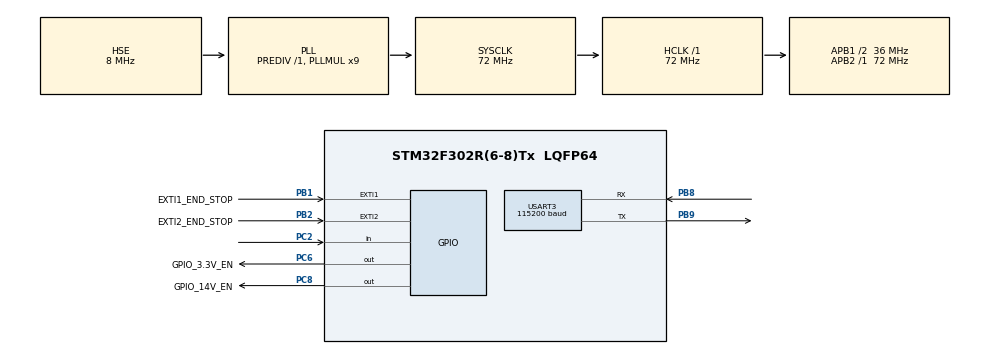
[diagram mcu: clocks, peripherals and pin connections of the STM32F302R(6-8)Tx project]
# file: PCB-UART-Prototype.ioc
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Mcu.Family=STM32F3
Mcu.Name=STM32F302R(6-8)Tx
Mcu.Package=LQFP64
NVIC.EXTI1_IRQn=true\:0\:0\:false\:false\:true\:true\:true
NVIC.EXTI2_TSC_IRQn=true\:0\:0\:false\:false\:true\:true\:true
NVIC.PriorityGroup=NVIC_PRIORITYGROUP_4
NVIC.RTC_Alarm_IRQn=true\:0\:0\:false\:false\:true\:true\:true
NVIC.RTC_WKUP_IRQn=true\:0\:0\:false\:false\:true\:true\:true
NVIC.TIM1_BRK_TIM15_IRQn=true\:0\:0\:false\:false\:true\:true\:true
NVIC.TIM1_UP_TIM16_IRQn=true\:0\:0\:false\:false\:true\:true\:true
NVIC.USART3_IRQn=true\:0\:0\:false\:false\:true\:true\:true
PA13.Mode=Serial_Wire
PA13.Signal=SYS_JTMS-SWDIO
PA14.Mode=Serial_Wire
PA14.Signal=SYS_JTCK-SWCLK
PB1.GPIO_Label=EXTI1_END_STOP
PB1.GPIO_ModeDefaultEXTI=GPIO_MODE_IT_FALLING
PB1.GPIO_PuPd=GPIO_PULLUP
PB1.Signal=GPXTI1
PB2.GPIO_Label=EXTI2_END_STOP
PB2.GPIO_ModeDefaultEXTI=GPIO_MODE_IT_FALLING
PB2.GPIO_PuPd=GPIO_PULLUP
PB2.Signal=GPXTI2
PB8.Mode=Asynchronous
PB8.Signal=USART3_RX
PB9.Mode=Asynchronous
PB9.Signal=USART3_TX
PC2.GPIO_PuPd=GPIO_PULLDOWN
PC2.Signal=GPIO_Input
PC6.GPIO_Label=GPIO_3.3V_EN
PC6.GPIO_PuPd=GPIO_PULLDOWN
PC6.PinState=GPIO_PIN_SET
PC6.Signal=GPIO_Output
PC8.GPIO_Label=GPIO_14V_EN
PC8.GPIO_PuPd=GPIO_PULLDOWN
PC8.PinState=GPIO_PIN_RESET
PC8.Signal=GPIO_Output
PF0-OSC_IN.Mode=HSE-External-Oscillator
PF0-OSC_IN.Signal=RCC_OSC_IN
PF1-OSC_OUT.Mode=HSE-External-Oscillator
PF1-OSC_OUT.Signal=RCC_OSC_OUT
ProjectManager.HeapSize=0x200
ProjectManager.StackSize=0x400
ProjectManager.TargetToolchain=MDK-ARM V5.27
RCC.AHBFreq_Value=72000000
RCC.APB1CLKDivider=RCC_HCLK_DIV2
RCC.APB1Freq_Value=36000000
RCC.APB1TimFreq_Value=72000000
RCC.APB2Freq_Value=72000000
RCC.APB2TimFreq_Value=72000000
RCC.CortexFreq_Value=72000000
RCC.HCLKFreq_Value=72000000
RCC.HSE_VALUE=8000000
RCC.HSI_VALUE=8000000
RCC.LSE_VALUE=32768
RCC.PLLMUL=RCC_PLL_MUL9
RCC.PLLSourceVirtual=RCC_PLLSOURCE_HSE
RCC.RTCClockSelection=RCC_RTCCLKSOURCE_HSE_DIV32
RCC.SYSCLKFreq_VALUE=72000000
RCC.SYSCLKSourceVirtual=RCC_SYSCLKSOURCE_PLLCLK
RCC.USBFreq_Value=72000000
RTC.Alarm-Alarm\ A=RTC_ALARM_A
TIM15.Period=99
TIM15.Prescaler=71
TIM16.Period=99
TIM16.Prescaler=71
USART3.BaudRate=115200
USART3.VirtualMode-Asynchronous=VM_ASYNC
VP_RTC_VS_RTC_Activate.Mode=RTC_Enabled
VP_RTC_VS_RTC_Alarm_A_Intern.Mode=Alarm A
VP_RTC_VS_RTC_Calendar.Mode=RTC_Calendar
VP_RTC_VS_RTC_WakeUp_intern.Mode=WakeUp
VP_TIM15_VS_ClockSourceINT.Mode=Internal
VP_TIM16_VS_ClockSourceINT.Mode=Enable_Timer
board=custom

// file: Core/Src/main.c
/* USER CODE BEGIN Header */
/**
  ******************************************************************************
  * @file           : main.c
  * @brief          : Main program body
  ******************************************************************************
  * @attention
  *
  * <h2><center>&copy; Copyright (c) 2020 STMicroelectronics.
  * All rights reserved.</center></h2>
  *
  * This software component is licensed by ST under BSD 3-Clause license,
  * the "License"; You may not use this file except in compliance with the
  * License. You may obtain a copy of the License at:
  *                        opensource.org/licenses/BSD-3-Clause
  *
  ******************************************************************************
  */
/* USER CODE END Header */
#include "main.h"

/* USER CODE BEGIN Includes */
#include "math.h"
//#include "freqAnalysis.h"
#include "seqAnalysis.h"
#include "string.h"
#include "stdio.h"
/* USER CODE END Includes */

RTC_HandleTypeDef hrtc;

TIM_HandleTypeDef htim15;
TIM_HandleTypeDef htim16;

UART_HandleTypeDef huart3;

/* USER CODE BEGIN PV */
volatile uint16_t status = 1;
volatile uint16_t resetLength;
volatile uint16_t setLength;
char buffer[30];
volatile uint16_t element_num = 0;
volatile uint16_t data = 0;
volatile uint16_t counter = 0;
static uint16_t depth = 80;
static uint16_t sample_rate = 10000;
volatile uint32_t raw_data[80] = {0}; //Increase array size if neccessary

freqAnalyser analiser;

/* USER CODE END PV */

void SystemClock_Config(void);
static void MX_GPIO_Init(void);
static void MX_USART3_UART_Init(void);
static void MX_RTC_Init(void);
static void MX_TIM15_Init(void);
static void MX_TIM16_Init(void);
/* USER CODE BEGIN PFP */

void CheckData (void){
	uint32_t  time_sufficient = 0;
	/*calculate sum non-zero value elements*/
	for(int k =0; k< (depth-1);k++){
		if (raw_data[k] !=0  ){
			if(raw_data[k] > 0x20000){
				time_sufficient = time_sufficient + (raw_data[k] - 0x20000);
				//HAL_UART_Transmit(&huart3,(uint8_t*)buffer, sprintf(buffer, "setLength = %d\n", (raw_data[k] - 0x20000)), 200);
			}else{
				time_sufficient = time_sufficient + raw_data[k];
				//HAL_UART_Transmit(&huart3,(uint8_t*)buffer, sprintf(buffer, "resetLength = %d\n", raw_data[k]), 200);
			}
		}
	}
	/* ***** */

	int time_sec = time_sufficient / sample_rate;
	if (time_sec > 2){																//Is record time enough for reconstruction
		__NOP();																				//Insert your filtration here
	}
}

void ClearBuffer (void){
	element_num = 0;
	CheckData();
	for (int i = 0; i < (depth - 1); i++){
		raw_data[i] = 0;
	}
	setLength = 0;
	HAL_UART_Transmit_IT(&huart3,(uint8_t*)buffer, sprintf(buffer, "IDLE\n"));
}

/* USER CODE END PFP */

int main(void)
{
  /* USER CODE BEGIN 1 */
  analiser = initAnaliser(1.);
  /* USER CODE END 1 */

  /* MCU Configuration--------------------------------------------------------*/

  /* Reset of all peripherals, Initializes the Flash interface and the Systick. */
  HAL_Init();

  /* Configure the system clock */
  SystemClock_Config();

  /* Initialize all configured peripherals */
  MX_GPIO_Init();
  MX_USART3_UART_Init();
  MX_RTC_Init();
  MX_TIM15_Init();
  MX_TIM16_Init();
  /* USER CODE BEGIN 2 */
	HAL_NVIC_EnableIRQ(EXTI1_IRQn);
	HAL_NVIC_EnableIRQ(EXTI2_TSC_IRQn);
	HAL_TIM_Base_Start_IT(&htim15);
	HAL_TIM_Base_Start_IT(&htim16);
  /* USER CODE END 2 */

  /* Infinite loop */
  while (1)
  {

  }
}

void SystemClock_Config(void)
{
  RCC_OscInitTypeDef RCC_OscInitStruct = {0};
  RCC_ClkInitTypeDef RCC_ClkInitStruct = {0};
  RCC_PeriphCLKInitTypeDef PeriphClkInit = {0};

  /** Initializes the RCC Oscillators according to the specified parameters
  * in the RCC_OscInitTypeDef structure.
  */
  RCC_OscInitStruct.OscillatorType = RCC_OSCILLATORTYPE_HSE;
  RCC_OscInitStruct.HSEState = RCC_HSE_ON;
  RCC_OscInitStruct.HSEPredivValue = RCC_HSE_PREDIV_DIV1;
  RCC_OscInitStruct.HSIState = RCC_HSI_ON;
  RCC_OscInitStruct.PLL.PLLState = RCC_PLL_ON;
  RCC_OscInitStruct.PLL.PLLSource = RCC_PLLSOURCE_HSE;
  RCC_OscInitStruct.PLL.PLLMUL = RCC_PLL_MUL9;
  if (HAL_RCC_OscConfig(&RCC_OscInitStruct) != HAL_OK)
  {
    Error_Handler();
  }
  /** Initializes the CPU, AHB and APB buses clocks
  */
  RCC_ClkInitStruct.ClockType = RCC_CLOCKTYPE_HCLK|RCC_CLOCKTYPE_SYSCLK
                              |RCC_CLOCKTYPE_PCLK1|RCC_CLOCKTYPE_PCLK2;
  RCC_ClkInitStruct.SYSCLKSource = RCC_SYSCLKSOURCE_PLLCLK;
  RCC_ClkInitStruct.AHBCLKDivider = RCC_SYSCLK_DIV1;
  RCC_ClkInitStruct.APB1CLKDivider = RCC_HCLK_DIV2;
  RCC_ClkInitStruct.APB2CLKDivider = RCC_HCLK_DIV1;

  if (HAL_RCC_ClockConfig(&RCC_ClkInitStruct, FLASH_LATENCY_2) != HAL_OK)
  {
    Error_Handler();
  }
  PeriphClkInit.PeriphClockSelection = RCC_PERIPHCLK_RTC|RCC_PERIPHCLK_TIM15
                              |RCC_PERIPHCLK_TIM16;
  PeriphClkInit.RTCClockSelection = RCC_RTCCLKSOURCE_HSE_DIV32;
  PeriphClkInit.Tim15ClockSelection = RCC_TIM15CLK_HCLK;
  PeriphClkInit.Tim16ClockSelection = RCC_TIM16CLK_HCLK;
  if (HAL_RCCEx_PeriphCLKConfig(&PeriphClkInit) != HAL_OK)
  {
    Error_Handler();
  }
}

static void MX_RTC_Init(void)
{

  RTC_TimeTypeDef sTime = {0};
  RTC_DateTypeDef sDate = {0};
  RTC_AlarmTypeDef sAlarm = {0};

  /** Initialize RTC Only
  */
  hrtc.Instance = RTC;
  hrtc.Init.HourFormat = RTC_HOURFORMAT_24;
  hrtc.Init.AsynchPrediv = 127;
  hrtc.Init.SynchPrediv = 255;
  hrtc.Init.OutPut = RTC_OUTPUT_DISABLE;
  hrtc.Init.OutPutPolarity = RTC_OUTPUT_POLARITY_HIGH;
  hrtc.Init.OutPutType = RTC_OUTPUT_TYPE_OPENDRAIN;
  if (HAL_RTC_Init(&hrtc) != HAL_OK)
  {
    Error_Handler();
  }

  /** Initialize RTC and set the Time and Date
  */
  sTime.Hours = 0x0;
  sTime.Minutes = 0x0;
  sTime.Seconds = 0x0;
  sTime.DayLightSaving = RTC_DAYLIGHTSAVING_NONE;
  sTime.StoreOperation = RTC_STOREOPERATION_RESET;
  if (HAL_RTC_SetTime(&hrtc, &sTime, RTC_FORMAT_BCD) != HAL_OK)
  {
    Error_Handler();
  }
  sDate.WeekDay = RTC_WEEKDAY_MONDAY;
  sDate.Month = RTC_MONTH_JANUARY;
  sDate.Date = 0x1;
  sDate.Year = 0x0;

  if (HAL_RTC_SetDate(&hrtc, &sDate, RTC_FORMAT_BCD) != HAL_OK)
  {
    Error_Handler();
  }
  /** Enable the Alarm A
  */
  sAlarm.AlarmTime.Hours = 0x0;
  sAlarm.AlarmTime.Minutes = 0x0;
  sAlarm.AlarmTime.Seconds = 0x0;
  sAlarm.AlarmTime.SubSeconds = 0x0;
  sAlarm.AlarmTime.DayLightSaving = RTC_DAYLIGHTSAVING_NONE;
  sAlarm.AlarmTime.StoreOperation = RTC_STOREOPERATION_RESET;
  sAlarm.AlarmMask = RTC_ALARMMASK_NONE;
  sAlarm.AlarmSubSecondMask = RTC_ALARMSUBSECONDMASK_ALL;
  sAlarm.AlarmDateWeekDaySel = RTC_ALARMDATEWEEKDAYSEL_DATE;
  sAlarm.AlarmDateWeekDay = 0x1;
  sAlarm.Alarm = RTC_ALARM_A;
  if (HAL_RTC_SetAlarm_IT(&hrtc, &sAlarm, RTC_FORMAT_BCD) != HAL_OK)
  {
    Error_Handler();
  }
  /** Enable the WakeUp
  */
  if (HAL_RTCEx_SetWakeUpTimer_IT(&hrtc, 0, RTC_WAKEUPCLOCK_RTCCLK_DIV16) != HAL_OK)
  {
    Error_Handler();
  }

}

static void MX_TIM15_Init(void)
{

  TIM_ClockConfigTypeDef sClockSourceConfig = {0};
  TIM_MasterConfigTypeDef sMasterConfig = {0};

  htim15.Instance = TIM15;
  htim15.Init.Prescaler = 71;
  htim15.Init.CounterMode = TIM_COUNTERMODE_UP;
  htim15.Init.Period = 99;
  htim15.Init.ClockDivision = TIM_CLOCKDIVISION_DIV1;
  htim15.Init.RepetitionCounter = 0;
  htim15.Init.AutoReloadPreload = TIM_AUTORELOAD_PRELOAD_DISABLE;
  if (HAL_TIM_Base_Init(&htim15) != HAL_OK)
  {
    Error_Handler();
  }
  sClockSourceConfig.ClockSource = TIM_CLOCKSOURCE_INTERNAL;
  if (HAL_TIM_ConfigClockSource(&htim15, &sClockSourceConfig) != HAL_OK)
  {
    Error_Handler();
  }
  sMasterConfig.MasterOutputTrigger = TIM_TRGO_RESET;
  sMasterConfig.MasterSlaveMode = TIM_MASTERSLAVEMODE_DISABLE;
  if (HAL_TIMEx_MasterConfigSynchronization(&htim15, &sMasterConfig) != HAL_OK)
  {
    Error_Handler();
  }

}

static void MX_TIM16_Init(void)
{

  htim16.Instance = TIM16;
  htim16.Init.Prescaler = 71;
  htim16.Init.CounterMode = TIM_COUNTERMODE_UP;
  htim16.Init.Period = 99;
  htim16.Init.ClockDivision = TIM_CLOCKDIVISION_DIV1;
  htim16.Init.RepetitionCounter = 0;
  htim16.Init.AutoReloadPreload = TIM_AUTORELOAD_PRELOAD_DISABLE;
  if (HAL_TIM_Base_Init(&htim16) != HAL_OK)
  {
    Error_Handler();
  }

}

static void MX_USART3_UART_Init(void)
{

  huart3.Instance = USART3;
  huart3.Init.BaudRate = 115200;
  huart3.Init.WordLength = UART_WORDLENGTH_8B;
  huart3.Init.StopBits = UART_STOPBITS_1;
  huart3.Init.Parity = UART_PARITY_NONE;
  huart3.Init.Mode = UART_MODE_TX_RX;
  huart3.Init.HwFlowCtl = UART_HWCONTROL_NONE;
  huart3.Init.OverSampling = UART_OVERSAMPLING_16;
  huart3.Init.OneBitSampling = UART_ONE_BIT_SAMPLE_DISABLE;
  huart3.AdvancedInit.AdvFeatureInit = UART_ADVFEATURE_NO_INIT;
  if (HAL_UART_Init(&huart3) != HAL_OK)
  {
    Error_Handler();
  }

}

static void MX_GPIO_Init(void)
{
  GPIO_InitTypeDef GPIO_InitStruct = {0};

  /* GPIO Ports Clock Enable */
  __HAL_RCC_GPIOF_CLK_ENABLE();
  __HAL_RCC_GPIOC_CLK_ENABLE();
  __HAL_RCC_GPIOB_CLK_ENABLE();
  __HAL_RCC_GPIOA_CLK_ENABLE();

  /*Configure GPIO pin Output Level */
  HAL_GPIO_WritePin(GPIO_3_3V_EN_GPIO_Port, GPIO_3_3V_EN_Pin, GPIO_PIN_SET);

  /*Configure GPIO pin Output Level */
  HAL_GPIO_WritePin(GPIO_14V_EN_GPIO_Port, GPIO_14V_EN_Pin, GPIO_PIN_RESET);

  /*Configure GPIO pin : PC2 */
  GPIO_InitStruct.Pin = GPIO_PIN_2;
  GPIO_InitStruct.Mode = GPIO_MODE_INPUT;
  GPIO_InitStruct.Pull = GPIO_PULLDOWN;
  HAL_GPIO_Init(GPIOC, &GPIO_InitStruct);

  /*Configure GPIO pins : EXTI1_END_STOP_Pin EXTI2_END_STOP_Pin */
  GPIO_InitStruct.Pin = EXTI1_END_STOP_Pin|EXTI2_END_STOP_Pin;
  GPIO_InitStruct.Mode = GPIO_MODE_IT_FALLING;
  GPIO_InitStruct.Pull = GPIO_PULLUP;
  HAL_GPIO_Init(GPIOB, &GPIO_InitStruct);

  /*Configure GPIO pins : GPIO_3_3V_EN_Pin GPIO_14V_EN_Pin */
  GPIO_InitStruct.Pin = GPIO_3_3V_EN_Pin|GPIO_14V_EN_Pin;
  GPIO_InitStruct.Mode = GPIO_MODE_OUTPUT_PP;
  GPIO_InitStruct.Pull = GPIO_PULLDOWN;
  GPIO_InitStruct.Speed = GPIO_SPEED_FREQ_LOW;
  HAL_GPIO_Init(GPIOC, &GPIO_InitStruct);

  /* EXTI interrupt init*/
  HAL_NVIC_SetPriority(EXTI1_IRQn, 0, 0);
  HAL_NVIC_EnableIRQ(EXTI1_IRQn);

  HAL_NVIC_SetPriority(EXTI2_TSC_IRQn, 0, 0);
  HAL_NVIC_EnableIRQ(EXTI2_TSC_IRQn);

}

/* USER CODE BEGIN 4 */
void HAL_TIM_PeriodElapsedCallback(TIM_HandleTypeDef *htim) {

	if (htim->Instance == TIM16){
		if ((counter <= 3) & (counter >= 1)){
			HAL_UART_Transmit(&huart3, "Spinning motor forward\n", 23, 200);
//			HAL_UART_Transmit(&huart3, "\n", 1, 200);
		}	else if ((counter >= 4) & (counter != 0)){
			HAL_UART_Transmit(&huart3, "Spinning motor backward\n", 24, 200);
			}
		counter = 0;
		}
	//GPIO - SET - > hydrophone -> 0 -> osc -> 1;
	if (htim->Instance == TIM15) {
		if((HAL_GPIO_ReadPin(GPIOC,GPIO_PIN_2) == SET & status == 0)||(HAL_GPIO_ReadPin(GPIOC, GPIO_PIN_2) == RESET & status == 1)){ //If state has changed - do smth
			if (HAL_GPIO_ReadPin(GPIOC, GPIO_PIN_2) == SET){
				HAL_UART_Transmit(&huart3,(uint8_t*)buffer, sprintf(buffer, "resetLength = %d\n", resetLength), 200);
				processSet(&analiser, resetLength);
				HAL_UART_Transmit(&huart3,(uint8_t*)buffer, sprintf(buffer, "score = %d\n", getScoreSquare(&analiser)), 200);
				resetLength = 0;
			} else {
				HAL_UART_Transmit(&huart3,(uint8_t*)buffer, sprintf(buffer, "setLength = %d\n", setLength), 200);
				processReset(&analiser, setLength);
				setLength = 0;
				}
			}

			if (HAL_GPIO_ReadPin(GPIOC, GPIO_PIN_2) == SET){
				setLength ++;
				if (setLength > (sample_rate * 4)){
					setLength = sample_rate * 4;
					ClearBuffer();
				}
				status = 1;
			} else if (HAL_GPIO_ReadPin(GPIOC, GPIO_PIN_2) == RESET){
				resetLength ++;
				status = 0;
			}

	}
}

void HAL_GPIO_EXTI_Callback(uint16_t GPIO_Pin)
{
  if(GPIO_Pin == GPIO_PIN_1) {
		HAL_UART_Transmit(&huart3, "Stop Motor pos 1\n", 17, 200 );
  }
	else if (GPIO_Pin == GPIO_PIN_2) {
		HAL_UART_Transmit(&huart3, "Stop Motor pos 2\n", 17, 200 );
	}
	else {
	  __NOP();
	}
}

/*int WordDivider(X){
	uint16_t  first = X / 1000;
	return first;
}

	int	WordDivider2(X){
	uint16_t second = X % 1000;
	return second;
}
*/
/* USER CODE END 4 */

void Error_Handler(void)
{
}

/************************ (C) COPYRIGHT STMicroelectronics *****END OF FILE****/
